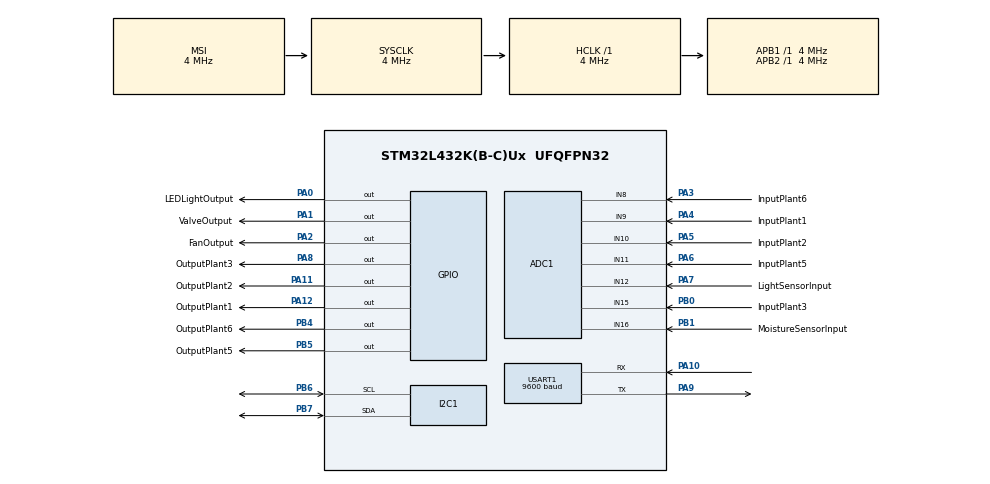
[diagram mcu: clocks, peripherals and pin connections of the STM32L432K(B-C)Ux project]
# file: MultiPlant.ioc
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ADC1.Channel-1\#ChannelRegularConversion=ADC_CHANNEL_16
ADC1.Channel-10\#ChannelRegularConversion=ADC_CHANNEL_11
ADC1.Channel-2\#ChannelRegularConversion=ADC_CHANNEL_12
ADC1.Channel-3\#ChannelRegularConversion=ADC_CHANNEL_15
ADC1.Channel-6\#ChannelRegularConversion=ADC_CHANNEL_9
ADC1.Channel-7\#ChannelRegularConversion=ADC_CHANNEL_8
ADC1.Channel-8\#ChannelRegularConversion=ADC_CHANNEL_9
ADC1.Channel-9\#ChannelRegularConversion=ADC_CHANNEL_10
ADC1.ContinuousConvMode=ENABLE
ADC1.DMAContinuousRequests=DISABLE
ADC1.NbrOfConversion=8
ADC1.NbrOfConversionFlag=1
ADC1.OffsetNumber-1\#ChannelRegularConversion=ADC_OFFSET_NONE
ADC1.OffsetNumber-10\#ChannelRegularConversion=ADC_OFFSET_NONE
ADC1.OffsetNumber-2\#ChannelRegularConversion=ADC_OFFSET_NONE
ADC1.OffsetNumber-3\#ChannelRegularConversion=ADC_OFFSET_NONE
ADC1.OffsetNumber-6\#ChannelRegularConversion=ADC_OFFSET_NONE
ADC1.OffsetNumber-7\#ChannelRegularConversion=ADC_OFFSET_NONE
ADC1.OffsetNumber-8\#ChannelRegularConversion=ADC_OFFSET_NONE
ADC1.OffsetNumber-9\#ChannelRegularConversion=ADC_OFFSET_NONE
ADC1.Rank-1\#ChannelRegularConversion=1
ADC1.Rank-10\#ChannelRegularConversion=8
ADC1.Rank-2\#ChannelRegularConversion=2
ADC1.Rank-3\#ChannelRegularConversion=3
ADC1.Rank-6\#ChannelRegularConversion=4
ADC1.Rank-7\#ChannelRegularConversion=5
ADC1.Rank-8\#ChannelRegularConversion=6
ADC1.Rank-9\#ChannelRegularConversion=7
ADC1.SamplingTime-1\#ChannelRegularConversion=ADC_SAMPLETIME_2CYCLES_5
ADC1.SamplingTime-10\#ChannelRegularConversion=ADC_SAMPLETIME_2CYCLES_5
ADC1.SamplingTime-2\#ChannelRegularConversion=ADC_SAMPLETIME_2CYCLES_5
ADC1.SamplingTime-3\#ChannelRegularConversion=ADC_SAMPLETIME_2CYCLES_5
ADC1.SamplingTime-6\#ChannelRegularConversion=ADC_SAMPLETIME_2CYCLES_5
ADC1.SamplingTime-7\#ChannelRegularConversion=ADC_SAMPLETIME_2CYCLES_5
ADC1.SamplingTime-8\#ChannelRegularConversion=ADC_SAMPLETIME_2CYCLES_5
ADC1.SamplingTime-9\#ChannelRegularConversion=ADC_SAMPLETIME_2CYCLES_5
ADC1.master=1
I2C1.CustomTiming=Disabled
I2C1.Timing=0x00000E14
Mcu.Family=STM32L4
Mcu.Name=STM32L432K(B-C)Ux
Mcu.Package=UFQFPN32
NVIC.PriorityGroup=NVIC_PRIORITYGROUP_4
NVIC.TIM1_UP_TIM16_IRQn=true\:0\:0\:false\:false\:true\:false\:true
NVIC.TIM6_DAC_IRQn=true\:0\:0\:false\:false\:true\:true\:true
NVIC.TimeBase=TIM1_UP_TIM16_IRQn
NVIC.TimeBaseIP=TIM1
NVIC.USART1_IRQn=true\:0\:0\:false\:false\:true\:true\:true
PA0.GPIO_Label=LEDLightOutput
PA0.Signal=GPIO_Output
PA1.GPIO_Label=ValveOutput
PA1.Signal=GPIO_Output
PA10.Mode=Asynchronous
PA10.Signal=USART1_RX
PA11.GPIO_Label=OutputPlant2
PA11.Signal=GPIO_Output
PA12.GPIO_Label=OutputPlant1
PA12.Signal=GPIO_Output
PA13\ (JTMS-SWDIO).Mode=Serial_Wire
PA13\ (JTMS-SWDIO).Signal=SYS_JTMS-SWDIO
PA14\ (JTCK-SWCLK).Mode=Serial_Wire
PA14\ (JTCK-SWCLK).Signal=SYS_JTCK-SWCLK
PA2.GPIO_Label=FanOutput
PA2.Signal=GPIO_Output
PA3.GPIO_Label=InputPlant6
PA3.Signal=ADCx_IN8
PA4.GPIO_Label=InputPlant1
PA4.Signal=ADCx_IN9
PA5.GPIO_Label=InputPlant2
PA5.Signal=ADCx_IN10
PA6.GPIO_Label=InputPlant5
PA6.Signal=ADCx_IN11
PA7.GPIO_Label=LightSensorInput
PA7.Signal=ADCx_IN12
PA8.GPIO_Label=OutputPlant3
PA8.Signal=GPIO_Output
PA9.Mode=Asynchronous
PA9.Signal=USART1_TX
PB0.GPIO_Label=InputPlant3
PB0.Signal=ADCx_IN15
PB1.GPIO_Label=MoistureSensorInput
PB1.Signal=ADCx_IN16
PB4\ (NJTRST).GPIO_Label=OutputPlant6
PB4\ (NJTRST).Signal=GPIO_Output
PB5.GPIO_Label=OutputPlant5
PB5.Signal=GPIO_Output
PB6.Mode=I2C
PB6.Signal=I2C1_SCL
PB7.Mode=I2C
PB7.Signal=I2C1_SDA
PC14-OSC32_IN\ (PC14).Mode=LSE-External-Oscillator
PC14-OSC32_IN\ (PC14).Signal=RCC_OSC32_IN
PC15-OSC32_OUT\ (PC15).Mode=LSE-External-Oscillator
PC15-OSC32_OUT\ (PC15).Signal=RCC_OSC32_OUT
ProjectManager.HeapSize=0x200
ProjectManager.StackSize=0x400
ProjectManager.TargetToolchain=MDK-ARM V5
RCC.ADCFreq_Value=32000000
RCC.AHBFreq_Value=4000000
RCC.APB1Freq_Value=4000000
RCC.APB1TimFreq_Value=4000000
RCC.APB2Freq_Value=4000000
RCC.APB2TimFreq_Value=4000000
RCC.CortexFreq_Value=4000000
RCC.HCLKFreq_Value=4000000
RCC.HSE_VALUE=8000000
RCC.HSI48_VALUE=48000000
RCC.HSI_VALUE=16000000
RCC.MSI_VALUE=4000000
RCC.PLLSAI1N=16
RCC.SYSCLKFreq_VALUE=4000000
RCC.USBFreq_Value=32000000
RCC.VCOOutputFreq_Value=32000000
SH.ADCx_IN10.0=ADC1_IN10,IN10-Single-Ended
SH.ADCx_IN11.0=ADC1_IN11,IN11-Single-Ended
SH.ADCx_IN12.0=ADC1_IN12,IN12-Single-Ended
SH.ADCx_IN15.0=ADC1_IN15,IN15-Single-Ended
SH.ADCx_IN16.0=ADC1_IN16,IN16-Single-Ended
SH.ADCx_IN8.0=ADC1_IN8,IN8-Single-Ended
SH.ADCx_IN9.0=ADC1_IN9,IN9-Single-Ended
TIM6.Period=500
TIM6.Prescaler=4000-1
USART1.BaudRate=9600
USART1.VirtualMode-Asynchronous=VM_ASYNC
VP_SYS_VS_tim1.Mode=TIM1
VP_TIM6_VS_ClockSourceINT.Mode=Enable_Timer
board=custom

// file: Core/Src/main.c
/* USER CODE BEGIN Header */
/**
  ******************************************************************************
  * @file           : main.c
  * @brief          : Main program body
  ******************************************************************************
  * @attention
  *
  * <h2><center>&copy; Copyright (c) 2021 STMicroelectronics.
  * All rights reserved.</center></h2>
  *
  * This software component is licensed by ST under BSD 3-Clause license,
  * the "License"; You may not use this file except in compliance with the
  * License. You may obtain a copy of the License at:
  *                        opensource.org/licenses/BSD-3-Clause
  *
  ******************************************************************************
  */
/* USER CODE END Header */
#include "main.h"

/* USER CODE BEGIN Includes */
#include "TaskTemp.h"
#include "TaskMoistureSensor.h"
#include "TaskLightSensor.h"
/* USER CODE END Includes */

/* USER CODE BEGIN PD */
#define usTIM TIM6
/* USER CODE END PD */

ADC_HandleTypeDef hadc1;

I2C_HandleTypeDef hi2c1;

TIM_HandleTypeDef htim6;

UART_HandleTypeDef huart1;

/* USER CODE BEGIN PV */

uint8_t needs_water = 0;
uint8_t is_hot = 0;
unsigned int temp_threshold = 26;
unsigned int moisture_threshold_upper = 3500;
unsigned int moisture_threshold_lower = 3000;
unsigned int dark_threshold = 1000;
unsigned int light_time_threshold = 864;

volatile unsigned int time_elapsed = 0;
/* USER CODE END PV */

void SystemClock_Config(void);
static void MX_GPIO_Init(void);
static void MX_USART1_UART_Init(void);
static void MX_I2C1_Init(void);
static void MX_ADC1_Init(void);
static void MX_TIM6_Init(void);

/* USER CODE BEGIN 0 */
uint8_t uart_buffer;
uint8_t uart_filled;
uint8_t tick_50ms_elapsed = 0;

DelayedQueue delayedQueue;
ReadyQueue readyQueue;
/* USER CODE END 0 */

int main(void)
{

  /* MCU Configuration--------------------------------------------------------*/

  /* Reset of all peripherals, Initializes the Flash interface and the Systick. */
  HAL_Init();

  /* Configure the system clock */
  SystemClock_Config();

  /* Initialize all configured peripherals */
  MX_GPIO_Init();
  MX_USART1_UART_Init();
  MX_I2C1_Init();
  MX_ADC1_Init();
  MX_TIM6_Init();
  /* USER CODE BEGIN 2 */
	HAL_TIM_Base_Start_IT(&htim6);
	__HAL_UART_ENABLE_IT(&huart1,UART_IT_RXNE);
	HAL_I2C_IsDeviceReady(&hi2c1, 0xD0, 10, HAL_MAX_DELAY);

	for(uint8_t i = 0; i<PLANT_COUNT; i++) {
	initPlant(&plants[i], i, PlantsInputChannels[i], PlantsOutputPorts[i], PlantsOutputPins[i]);
	}

	Init(); // initialize the scheduler data structures
	QueTask(&readyQueue, &TaskTemp, 0);
	QueTask(&readyQueue, &TaskFan, 0);

	QueTask(&readyQueue, &TMS0, 0);
	QueTask(&readyQueue, &TMS1, 0);
	QueTask(&readyQueue, &TMS2, 0);
	QueTask(&readyQueue, &TMS3, 0);
	QueTask(&readyQueue, &TMS4, 0);
	QueTask(&readyQueue, &TMS5, 0);

	QueTask(&readyQueue, &TSV0, 0);
	QueTask(&readyQueue, &TSV1, 0);
	QueTask(&readyQueue, &TSV2, 0);
	QueTask(&readyQueue, &TSV3, 0);
	QueTask(&readyQueue, &TSV4, 0);
	QueTask(&readyQueue, &TSV5, 0);

	QueTask(&readyQueue, &TaskLightSensor, 0);

  /* USER CODE END 2 */

  /* Infinite loop */
  while (1)
  {

    /* USER CODE BEGIN 3 */

		if (time_elapsed) {
			time_elapsed = 0;
			DispatchDelayed(&delayedQueue,&readyQueue);
			tick_50ms_elapsed = 0;
    }
		Dispatch(&readyQueue);

//		TaskTemp();
//		for(uint8_t i = 0; i< PLANT_COUNT; i++) {
//			TaskMoistureSensor(&plants[i]);
//			TaskSetValve(&plants[i]);
//		}
//		TaskLightSensor();
//		TaskFan();
//		HAL_Delay(1000);
  }
  /* USER CODE END 3 */
}

void SystemClock_Config(void)
{
  RCC_OscInitTypeDef RCC_OscInitStruct = {0};
  RCC_ClkInitTypeDef RCC_ClkInitStruct = {0};
  RCC_PeriphCLKInitTypeDef PeriphClkInit = {0};

  /** Configure LSE Drive Capability
  */
  HAL_PWR_EnableBkUpAccess();
  __HAL_RCC_LSEDRIVE_CONFIG(RCC_LSEDRIVE_LOW);
  /** Initializes the RCC Oscillators according to the specified parameters
  * in the RCC_OscInitTypeDef structure.
  */
  RCC_OscInitStruct.OscillatorType = RCC_OSCILLATORTYPE_LSE|RCC_OSCILLATORTYPE_MSI;
  RCC_OscInitStruct.LSEState = RCC_LSE_ON;
  RCC_OscInitStruct.MSIState = RCC_MSI_ON;
  RCC_OscInitStruct.MSICalibrationValue = 0;
  RCC_OscInitStruct.MSIClockRange = RCC_MSIRANGE_6;
  RCC_OscInitStruct.PLL.PLLState = RCC_PLL_NONE;
  if (HAL_RCC_OscConfig(&RCC_OscInitStruct) != HAL_OK)
  {
    Error_Handler();
  }
  /** Initializes the CPU, AHB and APB buses clocks
  */
  RCC_ClkInitStruct.ClockType = RCC_CLOCKTYPE_HCLK|RCC_CLOCKTYPE_SYSCLK
                              |RCC_CLOCKTYPE_PCLK1|RCC_CLOCKTYPE_PCLK2;
  RCC_ClkInitStruct.SYSCLKSource = RCC_SYSCLKSOURCE_MSI;
  RCC_ClkInitStruct.AHBCLKDivider = RCC_SYSCLK_DIV1;
  RCC_ClkInitStruct.APB1CLKDivider = RCC_HCLK_DIV1;
  RCC_ClkInitStruct.APB2CLKDivider = RCC_HCLK_DIV1;

  if (HAL_RCC_ClockConfig(&RCC_ClkInitStruct, FLASH_LATENCY_0) != HAL_OK)
  {
    Error_Handler();
  }
  PeriphClkInit.PeriphClockSelection = RCC_PERIPHCLK_USART1|RCC_PERIPHCLK_I2C1
                              |RCC_PERIPHCLK_ADC;
  PeriphClkInit.Usart1ClockSelection = RCC_USART1CLKSOURCE_PCLK2;
  PeriphClkInit.I2c1ClockSelection = RCC_I2C1CLKSOURCE_PCLK1;
  PeriphClkInit.AdcClockSelection = RCC_ADCCLKSOURCE_PLLSAI1;
  PeriphClkInit.PLLSAI1.PLLSAI1Source = RCC_PLLSOURCE_MSI;
  PeriphClkInit.PLLSAI1.PLLSAI1M = 1;
  PeriphClkInit.PLLSAI1.PLLSAI1N = 16;
  PeriphClkInit.PLLSAI1.PLLSAI1P = RCC_PLLP_DIV7;
  PeriphClkInit.PLLSAI1.PLLSAI1Q = RCC_PLLQ_DIV2;
  PeriphClkInit.PLLSAI1.PLLSAI1R = RCC_PLLR_DIV2;
  PeriphClkInit.PLLSAI1.PLLSAI1ClockOut = RCC_PLLSAI1_ADC1CLK;
  if (HAL_RCCEx_PeriphCLKConfig(&PeriphClkInit) != HAL_OK)
  {
    Error_Handler();
  }
  /** Configure the main internal regulator output voltage
  */
  if (HAL_PWREx_ControlVoltageScaling(PWR_REGULATOR_VOLTAGE_SCALE1) != HAL_OK)
  {
    Error_Handler();
  }
  /** Enable MSI Auto calibration
  */
  HAL_RCCEx_EnableMSIPLLMode();
}

static void MX_ADC1_Init(void)
{

  ADC_ChannelConfTypeDef sConfig = {0};

  /** Common config
  */
  hadc1.Instance = ADC1;
  hadc1.Init.ClockPrescaler = ADC_CLOCK_ASYNC_DIV1;
  hadc1.Init.Resolution = ADC_RESOLUTION_12B;
  hadc1.Init.DataAlign = ADC_DATAALIGN_RIGHT;
  hadc1.Init.ScanConvMode = ADC_SCAN_ENABLE;
  hadc1.Init.EOCSelection = ADC_EOC_SINGLE_CONV;
  hadc1.Init.LowPowerAutoWait = DISABLE;
  hadc1.Init.ContinuousConvMode = ENABLE;
  hadc1.Init.NbrOfConversion = 8;
  hadc1.Init.DiscontinuousConvMode = DISABLE;
  hadc1.Init.ExternalTrigConv = ADC_SOFTWARE_START;
  hadc1.Init.ExternalTrigConvEdge = ADC_EXTERNALTRIGCONVEDGE_NONE;
  hadc1.Init.DMAContinuousRequests = DISABLE;
  hadc1.Init.Overrun = ADC_OVR_DATA_PRESERVED;
  hadc1.Init.OversamplingMode = DISABLE;
  if (HAL_ADC_Init(&hadc1) != HAL_OK)
  {
    Error_Handler();
  }
  /** Configure Regular Channel
  */
  sConfig.Channel = ADC_CHANNEL_16;
  sConfig.Rank = ADC_REGULAR_RANK_1;
  sConfig.SamplingTime = ADC_SAMPLETIME_2CYCLES_5;
  sConfig.SingleDiff = ADC_SINGLE_ENDED;
  sConfig.OffsetNumber = ADC_OFFSET_NONE;
  sConfig.Offset = 0;
  if (HAL_ADC_ConfigChannel(&hadc1, &sConfig) != HAL_OK)
  {
    Error_Handler();
  }
  /** Configure Regular Channel
  */
  sConfig.Channel = ADC_CHANNEL_12;
  sConfig.Rank = ADC_REGULAR_RANK_2;
  if (HAL_ADC_ConfigChannel(&hadc1, &sConfig) != HAL_OK)
  {
    Error_Handler();
  }
  /** Configure Regular Channel
  */
  sConfig.Channel = ADC_CHANNEL_15;
  sConfig.Rank = ADC_REGULAR_RANK_3;
  if (HAL_ADC_ConfigChannel(&hadc1, &sConfig) != HAL_OK)
  {
    Error_Handler();
  }
  /** Configure Regular Channel
  */
  sConfig.Channel = ADC_CHANNEL_9;
  sConfig.Rank = ADC_REGULAR_RANK_4;
  if (HAL_ADC_ConfigChannel(&hadc1, &sConfig) != HAL_OK)
  {
    Error_Handler();
  }
  /** Configure Regular Channel
  */
  sConfig.Channel = ADC_CHANNEL_8;
  sConfig.Rank = ADC_REGULAR_RANK_5;
  if (HAL_ADC_ConfigChannel(&hadc1, &sConfig) != HAL_OK)
  {
    Error_Handler();
  }
  /** Configure Regular Channel
  */
  sConfig.Channel = ADC_CHANNEL_9;
  sConfig.Rank = ADC_REGULAR_RANK_6;
  if (HAL_ADC_ConfigChannel(&hadc1, &sConfig) != HAL_OK)
  {
    Error_Handler();
  }
  /** Configure Regular Channel
  */
  sConfig.Channel = ADC_CHANNEL_10;
  sConfig.Rank = ADC_REGULAR_RANK_7;
  if (HAL_ADC_ConfigChannel(&hadc1, &sConfig) != HAL_OK)
  {
    Error_Handler();
  }
  /** Configure Regular Channel
  */
  sConfig.Channel = ADC_CHANNEL_11;
  sConfig.Rank = ADC_REGULAR_RANK_8;
  if (HAL_ADC_ConfigChannel(&hadc1, &sConfig) != HAL_OK)
  {
    Error_Handler();
  }
  /* USER CODE BEGIN ADC1_Init 2 */

  hadc1.Instance = ADC1;
  hadc1.Init.ClockPrescaler = ADC_CLOCK_ASYNC_DIV1;
  hadc1.Init.Resolution = ADC_RESOLUTION_12B;
  hadc1.Init.DataAlign = ADC_DATAALIGN_RIGHT;
  hadc1.Init.ScanConvMode = ADC_SCAN_ENABLE;
  hadc1.Init.EOCSelection = ADC_EOC_SINGLE_CONV;
  hadc1.Init.LowPowerAutoWait = DISABLE;
  hadc1.Init.ContinuousConvMode = ENABLE;
  hadc1.Init.NbrOfConversion = 1;
  hadc1.Init.DiscontinuousConvMode = DISABLE;
  hadc1.Init.ExternalTrigConv = ADC_SOFTWARE_START;
  hadc1.Init.ExternalTrigConvEdge = ADC_EXTERNALTRIGCONVEDGE_NONE;
  hadc1.Init.DMAContinuousRequests = DISABLE;
  hadc1.Init.Overrun = ADC_OVR_DATA_PRESERVED;
  hadc1.Init.OversamplingMode = DISABLE;
  if (HAL_ADC_Init(&hadc1) != HAL_OK)
  {
    Error_Handler();
  }

  /* USER CODE END ADC1_Init 2 */

}

static void MX_I2C1_Init(void)
{

  hi2c1.Instance = I2C1;
  hi2c1.Init.Timing = 0x00000E14;
  hi2c1.Init.OwnAddress1 = 0;
  hi2c1.Init.AddressingMode = I2C_ADDRESSINGMODE_7BIT;
  hi2c1.Init.DualAddressMode = I2C_DUALADDRESS_DISABLE;
  hi2c1.Init.OwnAddress2 = 0;
  hi2c1.Init.OwnAddress2Masks = I2C_OA2_NOMASK;
  hi2c1.Init.GeneralCallMode = I2C_GENERALCALL_DISABLE;
  hi2c1.Init.NoStretchMode = I2C_NOSTRETCH_DISABLE;
  if (HAL_I2C_Init(&hi2c1) != HAL_OK)
  {
    Error_Handler();
  }
  /** Configure Analogue filter
  */
  if (HAL_I2CEx_ConfigAnalogFilter(&hi2c1, I2C_ANALOGFILTER_ENABLE) != HAL_OK)
  {
    Error_Handler();
  }
  /** Configure Digital filter
  */
  if (HAL_I2CEx_ConfigDigitalFilter(&hi2c1, 0) != HAL_OK)
  {
    Error_Handler();
  }

}

static void MX_TIM6_Init(void)
{

  TIM_MasterConfigTypeDef sMasterConfig = {0};

  htim6.Instance = TIM6;
  htim6.Init.Prescaler = 4000-1;
  htim6.Init.CounterMode = TIM_COUNTERMODE_UP;
  htim6.Init.Period = 500;
  htim6.Init.AutoReloadPreload = TIM_AUTORELOAD_PRELOAD_DISABLE;
  if (HAL_TIM_Base_Init(&htim6) != HAL_OK)
  {
    Error_Handler();
  }
  sMasterConfig.MasterOutputTrigger = TIM_TRGO_RESET;
  sMasterConfig.MasterSlaveMode = TIM_MASTERSLAVEMODE_DISABLE;
  if (HAL_TIMEx_MasterConfigSynchronization(&htim6, &sMasterConfig) != HAL_OK)
  {
    Error_Handler();
  }

}

static void MX_USART1_UART_Init(void)
{

  huart1.Instance = USART1;
  huart1.Init.BaudRate = 9600;
  huart1.Init.WordLength = UART_WORDLENGTH_8B;
  huart1.Init.StopBits = UART_STOPBITS_1;
  huart1.Init.Parity = UART_PARITY_NONE;
  huart1.Init.Mode = UART_MODE_TX_RX;
  huart1.Init.HwFlowCtl = UART_HWCONTROL_NONE;
  huart1.Init.OverSampling = UART_OVERSAMPLING_16;
  huart1.Init.OneBitSampling = UART_ONE_BIT_SAMPLE_DISABLE;
  huart1.AdvancedInit.AdvFeatureInit = UART_ADVFEATURE_NO_INIT;
  if (HAL_UART_Init(&huart1) != HAL_OK)
  {
    Error_Handler();
  }

}

static void MX_GPIO_Init(void)
{
  GPIO_InitTypeDef GPIO_InitStruct = {0};

  /* GPIO Ports Clock Enable */
  __HAL_RCC_GPIOC_CLK_ENABLE();
  __HAL_RCC_GPIOA_CLK_ENABLE();
  __HAL_RCC_GPIOB_CLK_ENABLE();

  /*Configure GPIO pin Output Level */
  HAL_GPIO_WritePin(GPIOA, LEDLightOutput_Pin|ValveOutput_Pin|FanOutput_Pin|OutputPlant3_Pin
                          |OutputPlant2_Pin|OutputPlant1_Pin, GPIO_PIN_RESET);

  /*Configure GPIO pin Output Level */
  HAL_GPIO_WritePin(GPIOB, OutputPlant6_Pin|OutputPlant5_Pin, GPIO_PIN_RESET);

  /*Configure GPIO pins : LEDLightOutput_Pin ValveOutput_Pin FanOutput_Pin OutputPlant3_Pin
                           OutputPlant2_Pin OutputPlant1_Pin */
  GPIO_InitStruct.Pin = LEDLightOutput_Pin|ValveOutput_Pin|FanOutput_Pin|OutputPlant3_Pin
                          |OutputPlant2_Pin|OutputPlant1_Pin;
  GPIO_InitStruct.Mode = GPIO_MODE_OUTPUT_PP;
  GPIO_InitStruct.Pull = GPIO_NOPULL;
  GPIO_InitStruct.Speed = GPIO_SPEED_FREQ_LOW;
  HAL_GPIO_Init(GPIOA, &GPIO_InitStruct);

  /*Configure GPIO pins : OutputPlant6_Pin OutputPlant5_Pin */
  GPIO_InitStruct.Pin = OutputPlant6_Pin|OutputPlant5_Pin;
  GPIO_InitStruct.Mode = GPIO_MODE_OUTPUT_PP;
  GPIO_InitStruct.Pull = GPIO_NOPULL;
  GPIO_InitStruct.Speed = GPIO_SPEED_FREQ_LOW;
  HAL_GPIO_Init(GPIOB, &GPIO_InitStruct);

}

 /**
  * @brief  Period elapsed callback in non blocking mode
  * @note   This function is called  when TIM1 interrupt took place, inside
  * HAL_TIM_IRQHandler(). It makes a direct call to HAL_IncTick() to increment
  * a global variable "uwTick" used as application time base.
  * @param  htim : TIM handle
  * @retval None
  */
void HAL_TIM_PeriodElapsedCallback(TIM_HandleTypeDef *htim)
{
  if (htim->Instance == TIM1) {
    HAL_IncTick();
  }
}

void Error_Handler(void)
{
  __disable_irq();
  while (1)
  {
  }
}

/************************ (C) COPYRIGHT STMicroelectronics *****END OF FILE****/
